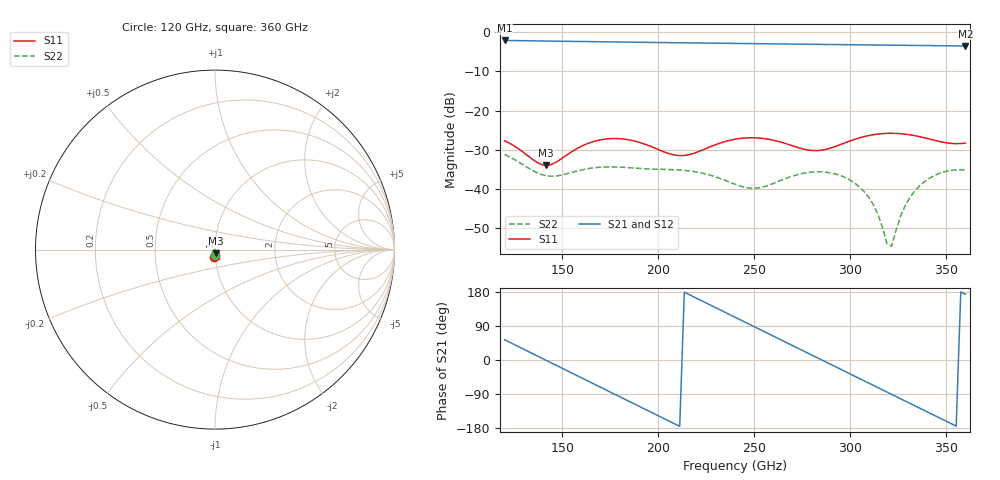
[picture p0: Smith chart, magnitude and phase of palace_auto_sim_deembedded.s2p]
! Created with skrf 1.11.0 (http://scikit-rf.org).
# GHz S DB R 50.0
!freq dBS11 angS11 dBS21 angS21 dBS12 angS12 dBS22 angS22
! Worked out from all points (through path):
!   101 points, 120 GHz to 360 GHz, reference 50 ohm
!   highest |S21| = -2.11 dB at 120 GHz (marker M1); lowest = -3.5 dB at 360 GHz (marker M2)
!   group delay of S21, straight-line fit = 6.94 ps
!   lowest |S11| = -34.0 dB at 141.6 GHz (marker M3), VSWR 1.04, Z = 50.3 - j1.98 ohm
!   |S11| at or under -10 dB: start of sweep to end of sweep
!   |S22| runs from -54.6 to -31.2 dB; largest |S21 - S12| = 8.7e-14
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120  -27.67 -96.2  -2.11 53.5  -2.11 53.5  -31.16 -86.9
132  -31.47 -101.3  -2.19 23.3  -2.19 23.3  -34.51 -90.4
141.6  -33.98 -80.1  -2.26 -0.7  -2.26 -0.7  -36.60 -78.4
160.8  -28.90 -60.7  -2.38 -48.9  -2.38 -48.9  -35.04 -62.3
170.4  -27.41 -71.1  -2.45 -73.0  -2.45 -73.0  -34.40 -66.4
180  -27.16 -83.3  -2.51 -97.0  -2.51 -97.0  -34.41 -71.4
189.6  -28.01 -93.4  -2.57 -121.0  -2.57 -121.0  -34.72 -75.0
201.6  -30.23 -96.1  -2.64 -151.1  -2.64 -151.1  -34.97 -78.2
211.2  -31.48 -84.9  -2.70 -175.1  -2.70 -175.1  -35.13 -82.6
220.8  -30.49 -72.2  -2.75 160.9  -2.75 160.9  -35.71 -88.8
240  -27.29 -76.8  -2.86 112.9  -2.86 112.9  -38.76 -92.2
259.2  -27.47 -93.6  -2.97 65.0  -2.97 65.0  -38.70 -70.3
280.8  -30.19 -86.8  -3.09 11.0  -3.09 11.0  -35.63 -86.2
292.8  -29.04 -73.6  -3.16 -18.9  -3.16 -18.9  -36.22 -106.5
304.8  -26.96 -74.0  -3.23 -48.8  -3.23 -48.8  -39.44 -128.1
312  -26.15 -78.7  -3.27 -66.8  -3.27 -66.8  -43.93 -137.6
319.2  -25.80 -84.6  -3.30 -84.7  -3.30 -84.7  -54.00 -110.5
321.6  -25.78 -86.6  -3.32 -90.7  -3.32 -90.7  -54.56 -61.7
328.8  -26.01 -92.1  -3.35 -108.6  -3.35 -108.6  -44.08 -28.4
336  -26.63 -95.7  -3.39 -126.6  -3.39 -126.6  -39.26 -39.0
348  -28.02 -94.1  -3.45 -156.5  -3.45 -156.5  -35.75 -65.6
360  -28.28 -83.3  -3.52 173.6  -3.52 173.6  -35.19 -95.4
